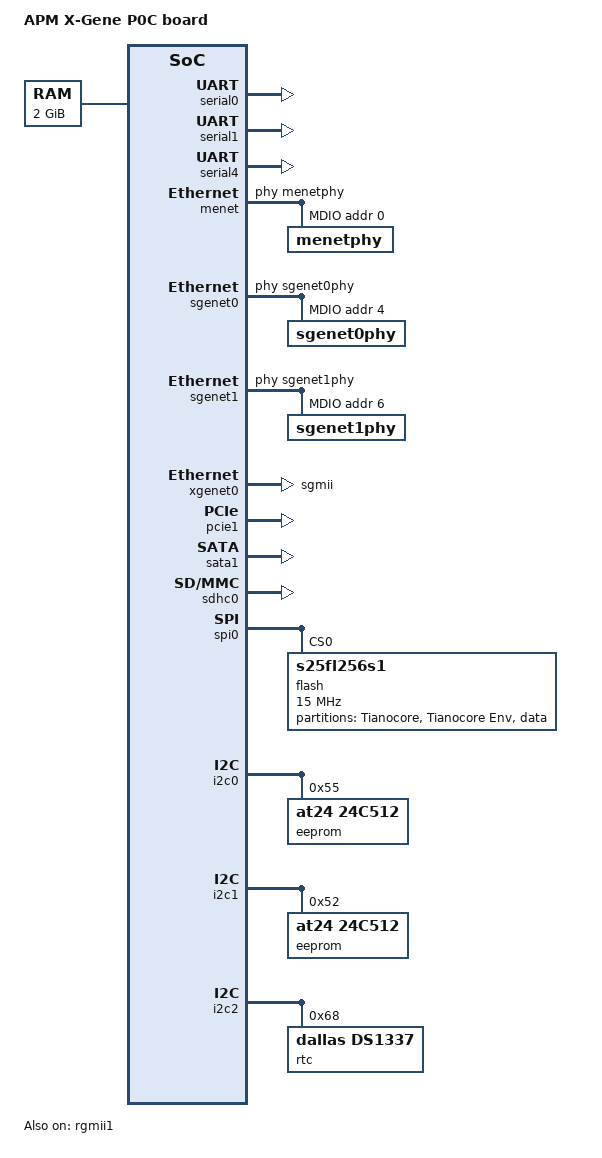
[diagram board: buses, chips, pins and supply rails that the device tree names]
/*
 * dts file for AppliedMicro (APM) P0C (Magneto-based) Board
 *
 * Copyright (C) 2014, Applied Micro Circuits Corporation
 *
 * This program is free software; you can redistribute it and/or
 * modify it under the terms of the GNU General Public License as
 * published by the Free Software Foundation; either version 2 of
 * the License, or (at your option) any later version.
 */

/dts-v1/;

/include/ "apm-magneto.dtsi"

/ {
	model = "APM X-Gene P0C board";
	compatible = "apm,p0c", "apm,xgene-magneto";

	chosen { };

	memory {
		device_type = "memory";
		reg = < 0x1 0x00000000 0x0 0x80000000 >; /* Updated by bootloader */
	};
};

&serial0 {
	status = "ok";
};

&serial1 {
	status = "ok";
};

&serial4 {
	status = "ok";
};

&menet {
	status = "ok";
	phy-handle = <&menetphy>;
	mdio {
		compatible = "apm,xgene-mdio";
		#address-cells = <1>;
		#size-cells = <0>;
		menetphy: menetphy@0 {
			reg = <0x0>;
		};
	};
};

&rgmii1 {
	status = "ok";
};

&sgenet0 {
	status = "ok";
	phy-handle = <&sgenet0phy>;
	mdio {
		compatible = "apm,xgene-mdio";
		#address-cells = <1>;
		#size-cells = <0>;
		sgenet0phy: sgenet0phy@4 {
			reg = <0x4>;
		};
	};
};

&sgenet1 {
	status = "ok";
	phy-handle = <&sgenet1phy>;
	mdio {
		compatible = "apm,xgene-mdio";
		#address-cells = <1>;
		#size-cells = <0>;
		sgenet1phy: sgenet1phy@6 {
			reg = <0x6>;
		};
	};
};

&xgenet0 {
	compatible = "apm,xgene-magneto-sgenet2";
	status = "ok";
	phy-mode = "sgmii";     
};

&pcie1clk {
	status = "ok";
};

&pcie1 {
	status = "ok";
};

&sata1 {
	status = "ok";
};

&sdhc0 {
	status = "ok";
};

/*
&usb0 {
	status = "ok";
};
*/
&spi0 {
	status = "ok";

	flash: s25fl256s@0 {
		status = "ok";
		cell-index = <0>;
		#address-cells = <1>;
		#size-cells = <1>;
		compatible = "s25fl256s1";
		reg = <0>;
		spi-max-frequency = <15000000>;
		spi-cpha;
		spi-cpol;

		partition@0x00000000 {
			label = "Tianocore";
			reg = <0x00000000 0x00800000>;
		};

		partition@0x00800000 {
			label = "Tianocore Env";
			reg = <0x00800000 0x00060000>;
		};

		partition@0x00860000 {
			label = "data";
			reg = <0x00860000 0x017a0000>;
		};
	};
};

&i2c0 {
	status = "ok";
	eeprom@55 {
		compatible = "at24,24c512";
		reg = <0x55>;
	};
};

&i2c1 {
	status = "ok";
	eeprom@52 {
		compatible = "at24,24c512";
		reg = <0x52>;
	};
};

&i2c2 {
	status = "ok";
	rtc@68 {
		compatible = "dallas,ds1337";
		reg = <0x68>;
	};
};
